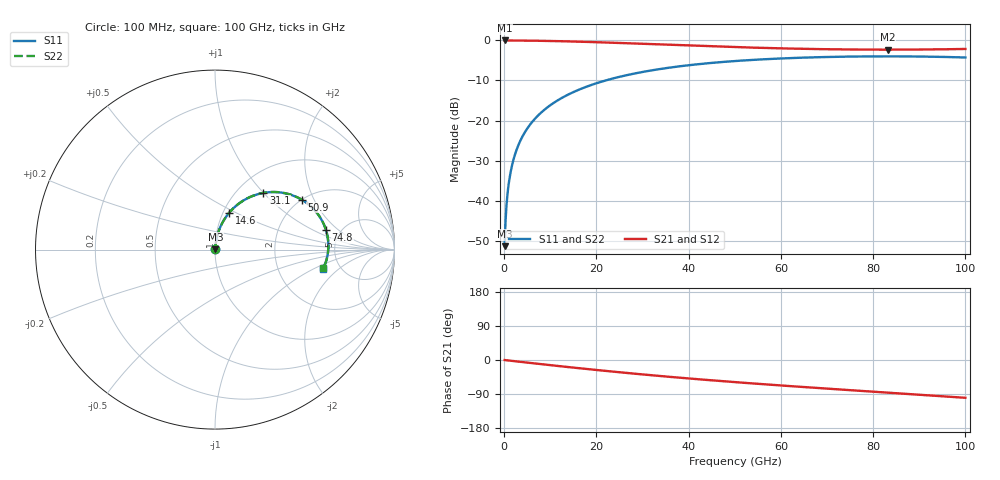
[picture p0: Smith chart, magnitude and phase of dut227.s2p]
! Touchstone file exported from HFSS 2026.1.0
!  File:  C:/ffzhzh/LocalFiles/Ansys_Project_Files/temp_train_RDL_227_1783501105_41296.aedt
!  Generated:  04:59:29 PM Jul  8, 2026
!  Design:  RDL
!  Project:  temp_train_RDL_227_1783501105_41296
! Variables:
!  h_bsmrdl = 2um
!  h_ox = 20um
!  h_rdl = 5um
!  h_sub = 80um
!  h_tmrdl = 2.96um
!  h_tsv = 80um
!  h_via = 3um
!  l_bsmrdl = 300um
!  l_sub = 719.01um
!  l_tmrdl = 319.01um
!  m_sub = 200um
!  pitch = 54.67um
!  r_tsv = 6um
!  s_tmrdl = 10um
!  w_bsmrdl = 18um
!  w_sub = 500um
!  w_tmrdl = 20.26um
!  x_tsv_center1 = 329.14um
!  x_tsv_center2 = 647.14um
!  x_tsv_center3 = 986.41um
!  x_tsv_center4 = 1304.41um
!  x_tsv_center5 = 1643.68um
!  x_tsv_center6 = 1961.68um
# GHz S MA R 50.000000
! Terminal data exported
! Port[1] = TM_RDL1_1_T1
! Port[2] = TM_RDL1_1_T2
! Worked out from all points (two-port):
!   1000 points, 100 MHz to 100 GHz, reference 50 ohm
!   highest |S21| = -0.02 dB at 100 MHz (marker M1); lowest = -2.3 dB at 83.2 GHz (marker M2)
!   |S21| within 3 dB of the highest: start of sweep to end of sweep
!   lowest |S11| = -51.3 dB at 100 MHz (marker M3), VSWR 1.01, Z = 50.2 + j0.172 ohm
!   |S11| at or under -10 dB: start of sweep to 21.99 GHz
!   |S22| runs from -51.3 to -4.0 dB; largest |S21 - S12| = 8.7e-15
!   S11 on the Smith chart (normalised r, x): 100 MHz: 1.00, +0.00; 14.6 GHz: 1.07, +0.46; 31.1 GHz: 1.31, +1.00; 50.9 GHz: 2.00, +1.61; 74.8 GHz: 3.85, +1.38; 100 GHz: 3.69, -1.27
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0.1  0.002717 39.1  0.9979 -0.1  0.9979 -0.1  0.002717 39.1
! Gamma 0 0 0 0
! Port Impedance 50 0 50 0
0.4  0.007086 70.3  0.9977 -0.6  0.9977 -0.6  0.007086 70.3
0.8  0.01331 77.9  0.9974 -1.1  0.9974 -1.1  0.01331 77.9
1.1  0.01802 80.1  0.9972 -1.5  0.9972 -1.5  0.01802 80.1
1.4  0.02275 81.3  0.9971 -1.9  0.9971 -1.9  0.02275 81.3
2.3  0.03699 82.4  0.9965 -3.2  0.9965 -3.2  0.03699 82.4
3.6  0.05753 82.0  0.9953 -5.0  0.9953 -5.0  0.05753 82.0
5.5  0.08725 80.1  0.9926 -7.6  0.9926 -7.6  0.08725 80.1
7.9  0.124 77.2  0.988 -10.8  0.988 -10.8  0.124 77.3
10.9  0.1686 73.5  0.9806 -14.8  0.9806 -14.8  0.1686 73.5
14.6  0.221 68.8  0.9692 -19.6  0.9692 -19.6  0.221 68.9
16.8  0.2507 66.1  0.9616 -22.4  0.9616 -22.4  0.2507 66.2
23.3  0.3317 58.4  0.9359 -30.3  0.9359 -30.3  0.3317 58.4
31.1  0.4146 49.6  0.9019 -39.3  0.9019 -39.3  0.4146 49.7
33.4  0.436 47.1  0.8918 -41.8  0.8918 -41.8  0.436 47.2
50.1  0.553 30.7  0.8248 -58.4  0.8248 -58.4  0.553 30.8
50.9  0.5571 30.0  0.8221 -59.2  0.8221 -59.2  0.5571 30.1
66.7  0.6139 16.5  0.7812 -72.8  0.7812 -72.8  0.6139 16.6
74.8  0.6278 10.0  0.7703 -79.4  0.7703 -79.4  0.6278 10.2
83.2  0.6324 3.3  0.7665 -86.1  0.7665 -86.1  0.6324 3.5
83.4  0.6324 3.2  0.7665 -86.3  0.7665 -86.3  0.6324 3.4
100  0.612 -10.1  0.7819 -99.8  0.7819 -99.8  0.612 -9.9
